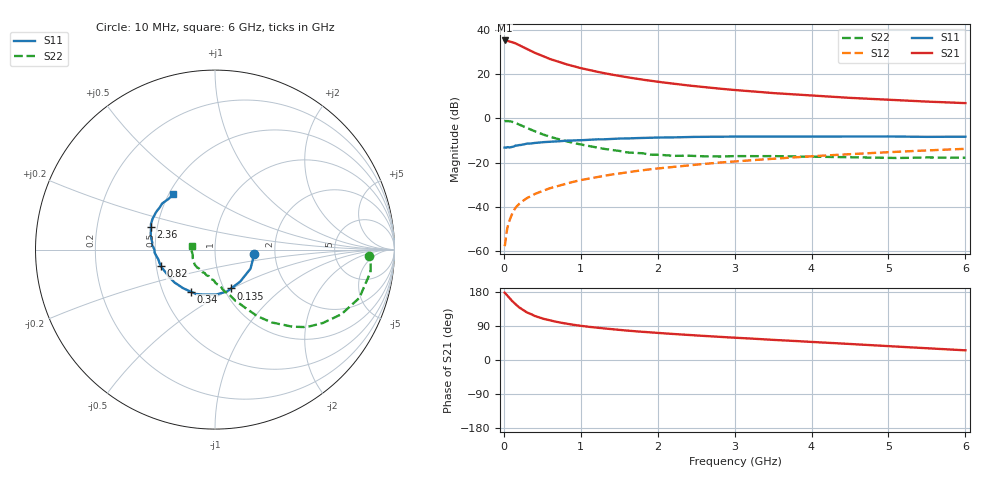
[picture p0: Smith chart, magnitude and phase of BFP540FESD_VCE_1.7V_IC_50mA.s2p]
! Infineon Technologies  Discrete & RF Semiconductors
! BFP540FESD
! VCE =  1.7 V,  IC =  50 mA
! Common Emitter S-Parameters:  Nov 2015
# GHz  S  MA  R  50
!  f  S11  S21  S12  S22
! GHz  MAG  ANG  MAG  ANG  MAG  ANG  MAG  ANG
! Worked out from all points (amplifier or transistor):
!   210 points, 10 MHz to 6 GHz, reference 50 ohm
!   highest |S21| = 35.2 dB at 10 MHz (marker M1)
!   |S21| within 3 dB of that: start of sweep to 250.5 MHz
!   unconditionally stable (mu >= 1): start of sweep to 26.37 MHz; 1.149 GHz to end of sweep
!   at 185 MHz: K = 0.50, MSG = 36.3 dB, |S12| = -39.2 dB
!   at 1.52 GHz: K = 1.05, MAG = 20.6 dB, |S12| = -24.8 dB
!   at 6 GHz: K = 1.17, MAG = 7.8 dB, |S12| = -13.7 dB
!   S11 on the Smith chart (normalised r, x): 10 MHz: 1.55, -0.08; 135 MHz: 1.08, -0.49; 340 MHz: 0.69, -0.35; 820 MHz: 0.53, -0.11; 2.36 GHz: 0.46, +0.13; 6 GHz: 0.53, +0.38
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0.01  0.2189 -6.4  57.65 177.6  0.0013 123.2  0.8572 -2.3
0.02  0.2182 -14.4  56.13 175.8  0.0016 106.7  0.8697 -1.6
0.05  0.2246 -28.2  56.26 168.9  0.0036 93.3  0.8753 -8.3
0.1  0.2269 -51.8  53.4 157.3  0.0065 81.9  0.848 -18.5
0.135  0.2344 -67.5  50.7 150.5  0.0086 78.3  0.8065 -24.3
0.15  0.2427 -73.7  49.78 147.4  0.0095 77.3  0.7915 -27.0
0.2  0.2502 -88.2  45.16 138.7  0.0117 76.4  0.7264 -34.3
0.24  0.2544 -99.5  41.66 133.2  0.0134 73.1  0.6783 -39.1
0.3  0.2693 -113.3  36.99 125.6  0.0158 72.7  0.6082 -44.9
0.34  0.2705 -119.9  34.29 122.3  0.0173 72.0  0.5693 -47.5
0.4  0.279 -129.6  30.51 116.3  0.0195 71.2  0.5135 -52.2
0.5  0.2905 -140.8  25.7 109.4  0.0228 70.5  0.4385 -57.6
0.6  0.2975 -149.1  21.96 104.2  0.0265 70.5  0.3837 -61.2
0.82  0.3144 -162.7  16.58 95.6  0.0339 69.8  0.3022 -68.6
1.02  0.3221 -171.0  13.43 89.7  0.0411 70.1  0.2536 -73.9
1.5  0.3518 176.2  9.1 79.4  0.0569 67.3  0.1846 -89.3
2.02  0.3702 165.3  6.659 71.1  0.0746 64.3  0.1506 -108.2
2.36  0.3788 160.7  5.649 66.7  0.0855 62.4  0.1435 -118.4
3.1  0.3879 152.8  4.25 57.7  0.11 57.6  0.1405 -136.5
4.1  0.3884 145.7  3.2 46.6  0.1427 50.7  0.1359 -152.8
5.1  0.3888 137.6  2.589 35.5  0.1759 42.3  0.1277 -168.9
6  0.3862 126.9  2.216 25.5  0.2056 34.5  0.1293 171.6
